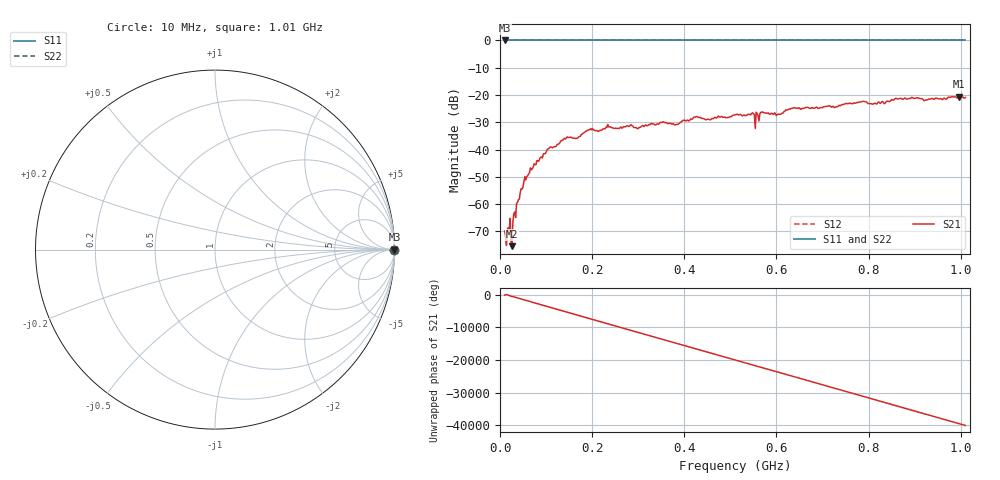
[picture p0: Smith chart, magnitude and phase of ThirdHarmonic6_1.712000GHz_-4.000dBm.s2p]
! 8/16/2025 8:35:27 PM
! C:\ANRITSUVNA\TEMP\TEMP.S2P
! CHANNEL.1
! TR.MEASUREMENT
! RAW.DATA
! RF.CORRECTION.OFF
! AVERAGING.OFF
! IF.BANDWIDTH: 5KHZ
! SWEEPTYPE:  FREQ.SWEEP(Linear)
! Reference Plane Port Info
! PORT:  PORT1  PORT2
! DISTANCE:  0  m  0  m
! TIME:  0  s  0  s
! PHASE.OFFSET:  0  deg.  0  deg.
! LOSS:  0  dB  0  dB
! REF.LOSS:  0  dB  0  dB
! REF.FREQ:  0  Hz  0  Hz
! Power Info
! POWER:  -20  dBm  -20  dBm
! EFF.POWER:  -20  dBm  -20  dBm
! SOURCE.ATTEN:  0  dB  0  dB
! TEST.ATTEN:  0  dB  0  dB
# GHZ S RI R 50.0
! FREQ.GHZ  S11RE  S11IM  S21RE  S21IM  S12RE  S12IM  S22RE  S22IM
!; PortSelection: Port_12
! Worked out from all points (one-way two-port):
!   501 points, 10 MHz to 1.01 GHz, reference 50 ohm
!   highest |S21| = -20.59 dB at 996 MHz (marker M1); lowest = -75.4 dB at 26 MHz (marker M2)
!   lowest |S11| = 0.0 dB at 10 MHz (marker M3)
!   |S11| at or under -10 dB: nowhere
!   |S22| runs from 0.0 to 0.0 dB; largest |S21 - S12| = 1.1
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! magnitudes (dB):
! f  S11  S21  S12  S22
! 10 MHz  0.0  -69.9  0.0  0.0
! 20 MHz  0.0  -70.3  0.0  0.0
! 22 MHz  0.0  -65.2  0.0  0.0
! 26 MHz  0.0  -75.4  0.0  0.0
! 28 MHz  0.0  -66.5  0.0  0.0
! 34 MHz  0.0  -64.9  0.0  0.0
! 50 MHz  0.0  -53.5  0.0  0.0
! 70 MHz  0.0  -47.0  0.0  0.0
! 106 MHz  0.0  -39.6  0.0  0.0
! 178 MHz  0.0  -34.3  0.0  0.0
! 234 MHz  0.0  -30.8  0.0  0.0
! 344 MHz  0.0  -30.7  0.0  0.0
! 510 MHz  0.0  -27.3  0.0  0.0
! 548 MHz  0.0  -26.5  0.0  0.0
! 558 MHz  0.0  -26.7  0.0  0.0
! 570 MHz  0.0  -26.2  0.0  0.0
! 604 MHz  0.0  -27.0  0.0  0.0
! 636 MHz  0.0  -24.9  0.0  0.0
! 678 MHz  0.0  -24.6  0.0  0.0
! 844 MHz  0.0  -22.4  0.0  0.0
! 996 MHz  0.0  -20.6  0.0  0.0
! 1.01 GHz  0.0  -20.9  0.0  0.0
